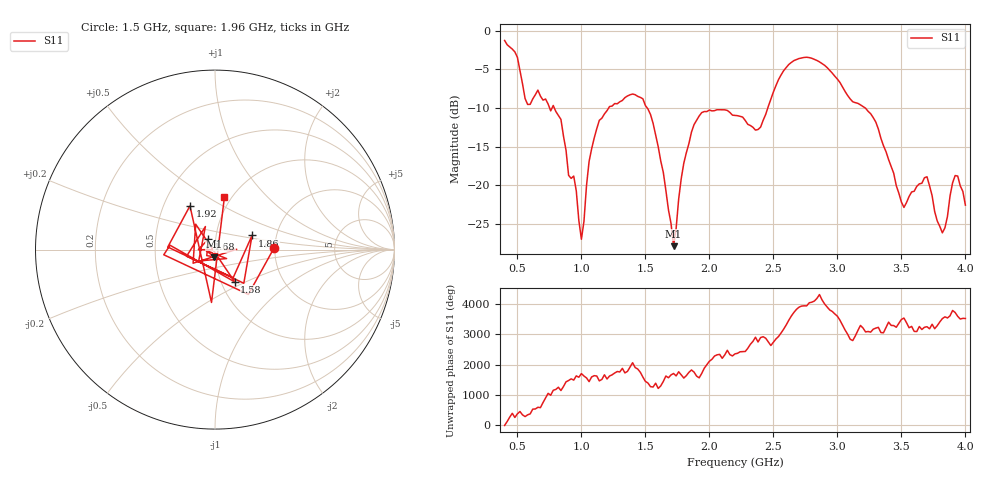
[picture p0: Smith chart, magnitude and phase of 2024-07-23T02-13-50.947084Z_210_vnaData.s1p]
!Created with skrf (http://scikit-rf.org).
# Hz S RI R 50.0
!freq ReS11 ImS11
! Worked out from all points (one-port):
!   181 points, 400 MHz to 4 GHz, reference 50 ohm
!   lowest |S11| = -27.9 dB at 1.72 GHz (marker M1), VSWR 1.08, Z = 49.4 - j3.99 ohm
!   |S11| at or under -10 dB: 788.3 MHz to 1.213 GHz (424.7 MHz wide, 42.4 % of centre); 1.514 GHz to 2.456 GHz (942.2 MHz wide, 47.5 % of centre); 3.217 GHz to end of sweep (the widest 3 of 4)
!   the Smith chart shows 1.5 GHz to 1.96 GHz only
!   S11 on the Smith chart (normalised r, x): 1.5 GHz: 1.98, +0.03; 1.58 GHz: 1.16, -0.44; 1.68 GHz: 0.92, +0.11; 1.86 GHz: 1.50, +0.25; 1.92 GHz: 0.68, +0.36; 1.96 GHz: 0.92, +0.60
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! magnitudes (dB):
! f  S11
! 400 MHz  -1.3
! 580 MHz  -9.5
! 660 MHz  -7.7
! 860 MHz  -13.6
! 940 MHz  -18.8
! 1 GHz  -27.0
! 1.06 GHz  -16.9
! 1.12 GHz  -12.7
! 1.3 GHz  -9.2
! 1.5 GHz  -9.7
! 1.58 GHz  -13.5
! 1.68 GHz  -23.1
! 1.72 GHz  -27.9
! 1.76 GHz  -21.8
! 1.86 GHz  -13.1
! 1.92 GHz  -11.0
! 1.96 GHz  -10.5
! 2.2 GHz  -11.0
! 2.38 GHz  -12.8
! 2.66 GHz  -3.9
! 3.1 GHz  -8.8
! 3.28 GHz  -11.3
! 3.5 GHz  -22.1
! 3.56 GHz  -21.4
! 3.7 GHz  -18.9
! 3.82 GHz  -26.1
! 3.92 GHz  -18.7
! 4 GHz  -22.6
